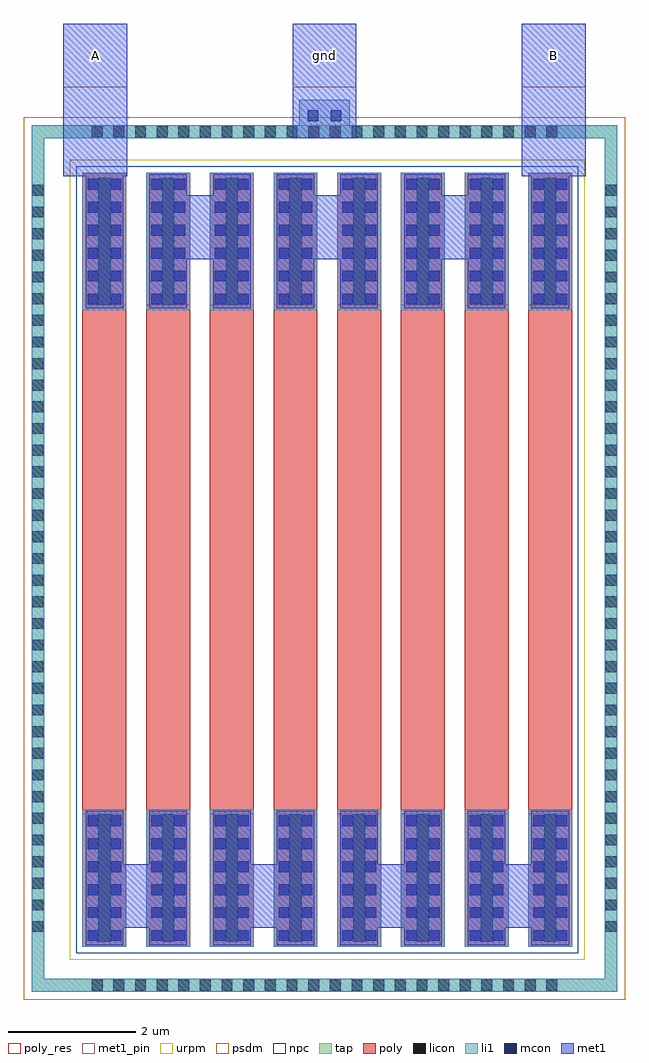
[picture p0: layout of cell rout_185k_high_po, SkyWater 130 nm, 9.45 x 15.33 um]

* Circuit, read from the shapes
.subckt rout_185k_high_po A B gnd
XR1 A n1 gnd sky130_fd_pr__res_xhigh_po w=0.69 l=7.88
XR2 n2 n1 gnd sky130_fd_pr__res_xhigh_po w=0.69 l=7.88
XR3 n2 n3 gnd sky130_fd_pr__res_xhigh_po w=0.69 l=7.88
XR4 n4 n3 gnd sky130_fd_pr__res_xhigh_po w=0.69 l=7.88
XR5 n4 n5 gnd sky130_fd_pr__res_xhigh_po w=0.69 l=7.88
XR6 n6 n5 gnd sky130_fd_pr__res_xhigh_po w=0.69 l=7.88
XR7 n6 n7 gnd sky130_fd_pr__res_xhigh_po w=0.69 l=7.88
XR8 B n7 gnd sky130_fd_pr__res_xhigh_po w=0.69 l=7.88
.ends

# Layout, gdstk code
import gdstk
lib = gdstk.Library(unit=1e-6, precision=1e-09)
def R(c, l, rs):  # rectangles x0, y0, x1, y1
    for r in rs: c.add(gdstk.rectangle(r[:2], r[2:], *l))
def A(c, l, x, y, w, h, nx, ny, dx, dy):  # array of equal rectangles
    R(c, l, [(x+i*dx, y+j*dy, x+i*dx+w, y+j*dy+h) for i in range(nx) for j in range(ny)])
tap = (65, 44)
poly_res = (66, 13)
poly = (66, 20)
licon = (66, 44)
li1 = (67, 20)
mcon = (67, 44)
met1_pin = (68, 16)
met1 = (68, 20)
urpm = (79, 20)
psdm = (94, 20)
npc = (95, 20)

sky130_fd_pr__res_xhigh_ = lib.new_cell('sky130_fd_pr__res_xhigh_po_0p69_EAXDFB')
R(sky130_fd_pr__res_xhigh_, poly_res, [(-0.345,-4,0.345,4)])
R(sky130_fd_pr__res_xhigh_, poly, [(-0.345,-6.08,0.345,6.08)])
R(sky130_fd_pr__res_xhigh_, licon, [(-0.095,-6,0.095,-4), (-0.095,4,0.095,6)])
R(sky130_fd_pr__res_xhigh_, li1, [(-0.345,-6.08,0.345,-3.92), (-0.345,3.92,0.345,6.08)])
A(sky130_fd_pr__res_xhigh_, mcon, -0.265, -5.985, 0.17, 0.17, 1, 6, 0, 0.36)
A(sky130_fd_pr__res_xhigh_, mcon, 0.095, -5.985, 0.17, 0.17, 1, 6, 0, 0.36)
A(sky130_fd_pr__res_xhigh_, mcon, -0.265, 4.01, 0.17, 0.17, 1, 6, 0, 0.36)
A(sky130_fd_pr__res_xhigh_, mcon, 0.095, 4.01, 0.17, 0.17, 1, 6, 0, 0.36)
R(sky130_fd_pr__res_xhigh_, met1, [(-0.295,-6.05,0.295,-3.945), (-0.295,3.945,0.295,6.05)])
R(sky130_fd_pr__res_xhigh_, urpm, [(-0.545,-6.28,0.545,6.28)])
R(sky130_fd_pr__res_xhigh_, psdm, [(-0.455,-6.19,0.455,6.19)])
R(sky130_fd_pr__res_xhigh_, npc, [(-0.44,-6.175,0.44,6.175)])

rout_185k_high_po = lib.new_cell('rout_185k_high_po')
R(rout_185k_high_po, tap, [(-2,-2,7.2,-1.8), (-2,-1.8,-1.8,11.4), (7,-1.8,7.2,11.4), (-2,11.4,7.2,11.6)])
A(rout_185k_high_po, licon, -1.055, -1.985, 0.17, 0.17, 22, 2, 0.34, 13.4)
A(rout_185k_high_po, licon, -1.985, -1.065, 0.17, 0.17, 1, 35, 0, 0.34)
A(rout_185k_high_po, licon, 7.015, -1.065, 0.17, 0.17, 1, 35, 0, 0.34)
R(rout_185k_high_po, li1, [(-2,-2,7.2,-1.8), (-2,-1.8,-1.8,11.4), (7,-1.8,7.2,11.4), (-2,11.4,7.2,11.6), (2.2,11.6,3,12)])
R(rout_185k_high_po, mcon, [(2.335,11.665,2.505,11.835), (2.695,11.665,2.865,11.835)])
A(rout_185k_high_po, met1_pin, -1.5, 12.2, 1, 1, 3, 1, 3.6, 0)
A(rout_185k_high_po, met1, -1, -1, 1, 1, 4, 1, 2, 0)
A(rout_185k_high_po, met1, 0, 9.5, 1, 1, 3, 1, 2, 0)
R(rout_185k_high_po, met1, [(-1.5,10.8,-0.5,13.2), (5.7,10.8,6.7,13.2), (2.1,11.4,3.1,13.2)])
A(rout_185k_high_po, psdm, -0.4, -1.41, 0.09, 12.38, 7, 1, 1, 0)
R(rout_185k_high_po, psdm, [(-2.125,-2.125,7.325,-1.41), (-2.125,-1.41,-1.31,10.97), (6.6,-1.41,7.325,10.97), (-2.125,10.97,7.325,11.725)])
A(rout_185k_high_po, npc, -0.415, -1.395, 0.12, 12.35, 7, 1, 1, 0)
rout_185k_high_po.add(gdstk.Reference(sky130_fd_pr__res_xhigh_, (5.145,4.78)))
rout_185k_high_po.add(gdstk.Reference(sky130_fd_pr__res_xhigh_, (4.145,4.78)))
rout_185k_high_po.add(gdstk.Reference(sky130_fd_pr__res_xhigh_, (3.145,4.78)))
rout_185k_high_po.add(gdstk.Reference(sky130_fd_pr__res_xhigh_, (2.145,4.78)))
rout_185k_high_po.add(gdstk.Reference(sky130_fd_pr__res_xhigh_, (1.145,4.78)))
rout_185k_high_po.add(gdstk.Reference(sky130_fd_pr__res_xhigh_, (0.145,4.78)))
rout_185k_high_po.add(gdstk.Reference(sky130_fd_pr__res_xhigh_, (-0.855,4.78)))
rout_185k_high_po.add(gdstk.Reference(sky130_fd_pr__res_xhigh_, (6.145,4.78)))
rout_185k_high_po.add(gdstk.Label('A', (-1,12.7), layer=68, texttype=5))
rout_185k_high_po.add(gdstk.Label('gnd', (2.6,12.7), layer=68, texttype=5))
rout_185k_high_po.add(gdstk.Label('B', (6.2,12.7), layer=68, texttype=5))

lib.write_gds('rout_185k_high_po.gds')
